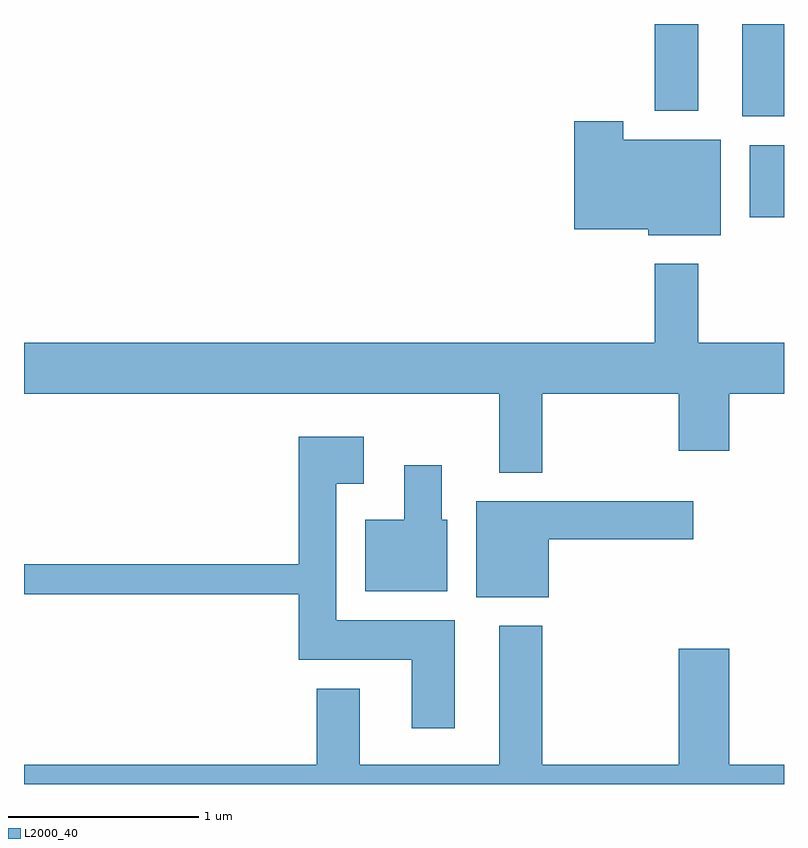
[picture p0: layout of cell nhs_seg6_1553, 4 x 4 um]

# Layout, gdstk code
import gdstk
lib = gdstk.Library(unit=1e-6, precision=1e-09)
def R(c, l, rs):  # rectangles x0, y0, x1, y1
    for r in rs: c.add(gdstk.rectangle(r[:2], r[2:], *l))
def P(c, l, *ps):  # polygons
    for p in ps: c.add(gdstk.Polygon(p, *l))
L2000_40 = (2000, 40)

nhs_seg6_1553 = lib.new_cell('nhs_seg6_1553')
R(nhs_seg6_1553, L2000_40, [(235.431,1593.146,235.611,1593.524), (235.391,1593.676,235.611,1594.162), (234.931,1593.706,235.159,1594.162)])
P(nhs_seg6_1553, L2000_40, [(235.279,1593.554),(234.764,1593.554),(234.764,1593.649),(234.506,1593.649),(234.506,1593.081),(234.896,1593.081),(234.896,1593.051),(235.279,1593.051)],
  [(234.339,1592.216),(235.056,1592.216),(235.056,1591.916),(235.324,1591.916),(235.324,1592.216),(235.611,1592.216),(235.611,1592.484),(235.159,1592.484),(235.159,1592.899),(234.931,1592.899),(234.931,1592.484),(231.611,1592.484),(231.611,1592.216),(234.111,1592.216),(234.111,1591.801),(234.339,1591.801)],
  [(233.879,1591.024),(233.254,1591.024),(233.254,1591.741),(233.399,1591.741),(233.399,1591.989),(233.056,1591.989),(233.056,1591.319),(231.611,1591.319),(231.611,1591.161),(233.056,1591.161),(233.056,1590.816),(233.651,1590.816),(233.651,1590.456),(233.879,1590.456)],
  [(233.839,1591.554),(233.809,1591.554),(233.809,1591.839),(233.611,1591.839),(233.611,1591.554),(233.406,1591.554),(233.406,1591.176),(233.839,1591.176)],
  [(234.374,1591.451),(235.134,1591.451),(235.134,1591.649),(233.991,1591.649),(233.991,1591.146),(234.374,1591.146)],
  [(235.611,1590.264),(235.324,1590.264),(235.324,1590.874),(235.056,1590.874),(235.056,1590.264),(234.339,1590.264),(234.339,1590.994),(234.111,1590.994),(234.111,1590.264),(233.379,1590.264),(233.379,1590.664),(233.151,1590.664),(233.151,1590.264),(231.611,1590.264),(231.611,1590.162),(235.611,1590.162)])

lib.write_gds('nhs_seg6_1553.gds')
